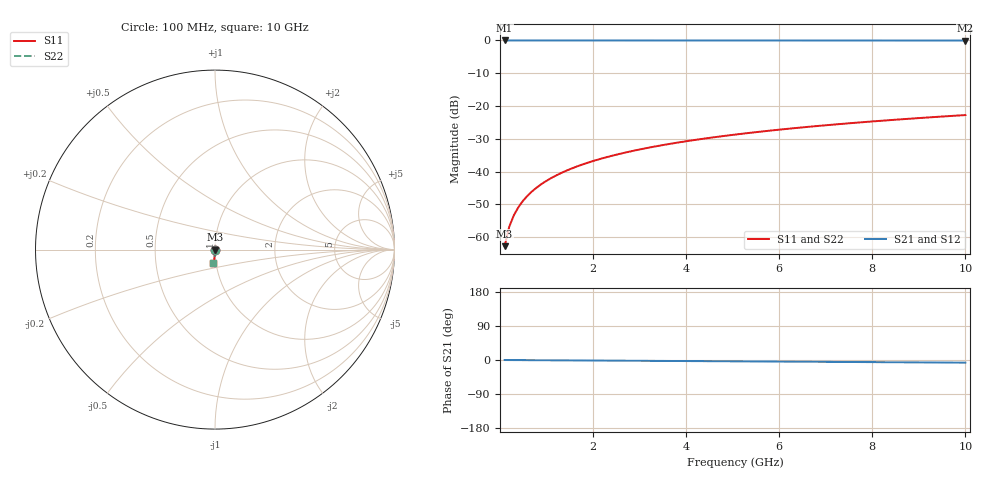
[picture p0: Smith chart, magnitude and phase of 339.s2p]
# Hz S RI R 50.00
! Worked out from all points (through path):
!   100 points, 100 MHz to 10 GHz, reference 50 ohm
!   highest |S21| = 0.00 dB at 100 MHz (marker M1); lowest = 0.0 dB at 10 GHz (marker M2)
!   lowest |S11| = -62.7 dB at 100 MHz (marker M3), VSWR 1.00, Z = 50 - j0.0724 ohm
!   |S11| at or under -10 dB: start of sweep to end of sweep
!   |S22| runs from -62.7 to -22.8 dB; largest |S21 - S12| = 0
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1e8  9.4e-05 -0.000724  0.9999 -0.00122  0.9999 -0.00122  9.4e-05 -0.000724
2e8  9.11e-05 -0.00145  0.9999 -0.00243  0.9999 -0.00243  9.11e-05 -0.00145
3e8  8.62e-05 -0.00217  0.9999 -0.00365  0.9999 -0.00365  8.62e-05 -0.00217
4e8  7.95e-05 -0.0029  0.9999 -0.00486  0.9999 -0.00486  7.95e-05 -0.0029
5e8  7.1e-05 -0.00362  0.9999 -0.00608  0.9999 -0.00608  7.1e-05 -0.00362
6e8  6.07e-05 -0.00435  0.9999 -0.0073  0.9999 -0.0073  6.07e-05 -0.00435
7e8  4.86e-05 -0.00507  0.9998 -0.00851  0.9998 -0.00851  4.86e-05 -0.00507
8e8  3.47e-05 -0.0058  0.9998 -0.00973  0.9998 -0.00973  3.47e-05 -0.0058
9e8  1.9e-05 -0.00652  0.9998 -0.0109  0.9998 -0.0109  1.9e-05 -0.00652
1.1e9  -1.77e-05 -0.00797  0.9998 -0.0134  0.9998 -0.0134  -1.77e-05 -0.00797
1.4e9  -8.6e-05 -0.0101  0.9997 -0.017  0.9997 -0.017  -8.6e-05 -0.0101
1.8e9  -0.000202 -0.013  0.9996 -0.0219  0.9996 -0.0219  -0.000202 -0.013
2.1e9  -0.000308 -0.0152  0.9994 -0.0256  0.9994 -0.0256  -0.000308 -0.0152
2.5e9  -0.000473 -0.0181  0.9992 -0.0304  0.9992 -0.0304  -0.000473 -0.0181
2.9e9  -0.000668 -0.021  0.999 -0.0353  0.999 -0.0353  -0.000668 -0.021
3.4e9  -0.000951 -0.0247  0.9987 -0.0414  0.9987 -0.0414  -0.000951 -0.0247
4.2e9  -0.0015 -0.0305  0.9981 -0.0512  0.9981 -0.0512  -0.0015 -0.0305
5.1e9  -0.00225 -0.037  0.9972 -0.0621  0.9972 -0.0621  -0.00225 -0.037
5.9e9  -0.00304 -0.0428  0.9963 -0.0719  0.9963 -0.0719  -0.00304 -0.0428
6.7e9  -0.00394 -0.0486  0.9953 -0.0817  0.9953 -0.0817  -0.00394 -0.0486
8.4e9  -0.00624 -0.0608  0.9927 -0.1024  0.9927 -0.1024  -0.00624 -0.0608
1e10  -0.00888 -0.0723  0.9897 -0.1219  0.9897 -0.1219  -0.00888 -0.0723
